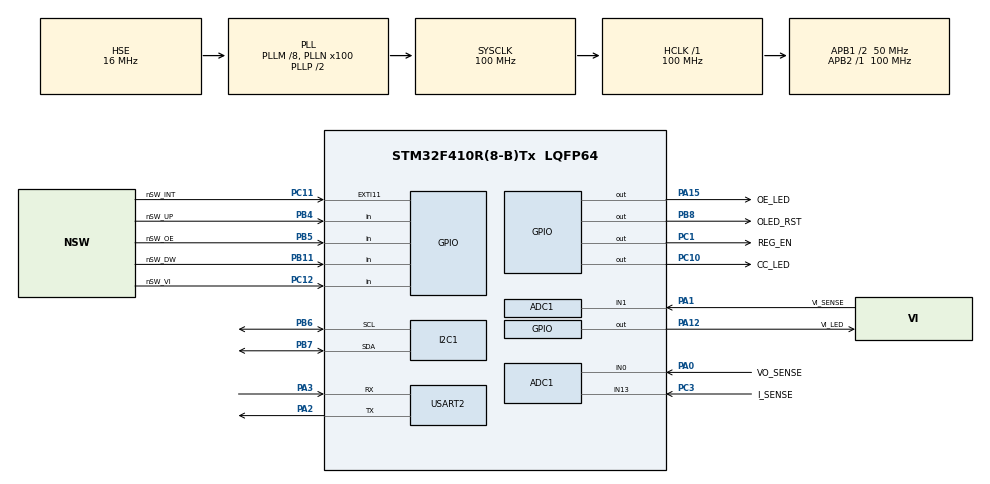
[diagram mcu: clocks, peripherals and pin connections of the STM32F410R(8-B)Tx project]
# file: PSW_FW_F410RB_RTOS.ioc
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Mcu.Family=STM32F4
VP_SYS_VS_tim6.Mode=TIM6
RCC.CortexFreq_Value=100000000
NVIC.TIM6_DAC_IRQn=true\:0\:0\:false\:false\:true\:false\:false\:true
PC12.Signal=GPIO_Input
PC10.Signal=GPIO_Output
PB11.Signal=GPIO_Input
RCC.SYSCLKSource=RCC_SYSCLKSOURCE_PLLCLK
ProjectManager.StackSize=0x400
VP_FREERTOS_VS_CMSIS_V2.Mode=CMSIS_V2
PA15.GPIO_Label=OE_LED
FREERTOS.configENABLE_FPU=1
PA12.Signal=GPIO_Output
PH0\ -\ OSC_IN.Signal=RCC_OSC_IN
RCC.HCLKFreq_Value=100000000
RCC.APB2TimFreq_Value=100000000
PB6.Signal=I2C1_SCL
PB6.Mode=I2C
PC3.Signal=SharedAnalog_PC3
PC1.PinState=GPIO_PIN_SET
RCC.AHBFreq_Value=100000000
NVIC.EXTI15_10_IRQn=true\:5\:0\:false\:false\:true\:true\:true\:true
ADC1.Channel-0\#ChannelRegularConversion=ADC_CHANNEL_13
RCC.HSE_VALUE=16000000
PB3.Mode=Trace_Asynchronous_SW
PA14.Mode=Trace_Asynchronous_SW
PC11.GPIO_Label=nSW_INT
PB8.PinState=GPIO_PIN_RESET
PB7.Signal=I2C1_SDA
ADC1.SamplingTime-0\#ChannelRegularConversion=ADC_SAMPLETIME_3CYCLES
Mcu.Package=LQFP64
NVIC.TimeBase=TIM6_DAC_IRQn
USART2.VirtualMode=VM_ASYNC
RCC.EnbaleCSS=true
NVIC.TimeBaseIP=TIM6
PA15.Signal=GPIO_Output
PB5.GPIO_Label=nSW_OE
RCC.APB1TimFreq_Value=100000000
PB4.Signal=GPIO_Input
PA3.Signal=USART2_RX
RCC.PLLSourceVirtual=RCC_PLLSOURCE_HSE
FREERTOS.Tasks01=uartTxTask,24,128,startUartTxTask,Default,NULL,Dynamic,NULL,NULL;uartRxTask,24,128,startUartRxTask,Default,NULL,Dynamic,NULL,NULL;oledTask,8,256,startOledTask,Default,NULL,Dynamic,NULL,NULL;initPsuTask,47,128,startInitPsuTask,Default,NULL,Dynamic,NULL,NULL;ledTask,8,128,startLedTask,Default,NULL,Dynamic,NULL,NULL
ADC1.Rank-0\#ChannelRegularConversion=1
PC10.GPIO_Label=CC_LED
SH.SharedAnalog_PC3.1=ADC1_IN13,IN13
SH.SharedAnalog_PC3.0=GPIO_Analog
SH.SharedAnalog_PA0.0=GPIO_Analog
SH.SharedAnalog_PA0.1=ADC1_IN0,IN0
PC11.Signal=GPXTI11
PH1\ -\ OSC_OUT.Mode=HSE-External-Oscillator
PB11.GPIO_Label=nSW_DW
TIM11.Prescaler=8400-1
RCC.APB1CLKDivider=RCC_HCLK_DIV2
PA12.GPIO_Label=VI_LED
PA0-WKUP.GPIO_Label=VO_SENSE
PA0-WKUP.Signal=SharedAnalog_PA0
VP_TIM11_VS_ClockSourceINT.Mode=Enable_Timer
PA13.Signal=SYS_JTMS-SWDIO
PA3.Mode=Asynchronous
PB8.GPIO_Label=OLED_RST
PH0\ -\ OSC_IN.Mode=HSE-External-Oscillator
ProjectManager.TargetToolchain=STM32CubeIDE
I2C1.I2C_Mode=I2C_Fast
RCC.LSE_VALUE=32768
PA1.Signal=SharedAnalog_PA1
PH1\ -\ OSC_OUT.Signal=RCC_OSC_OUT
board=custom
RCC.VCOOutputFreq_Value=200000000
RCC.APB2Freq_Value=100000000
PB4.GPIO_Label=nSW_UP
PC11.GPIO_ModeDefaultEXTI=GPIO_MODE_IT_FALLING
PA1.GPIO_Label=VI_SENSE
PC1.GPIO_Label=REG_EN
PA13.Mode=Trace_Asynchronous_SW
Mcu.Name=STM32F410R(8-B)Tx
PA2.Signal=USART2_TX
RCC.48MHZClocksFreq_Value=50000000
PB3.Signal=SYS_JTDO-SWO
RCC.SYSCLKFreq_VALUE=100000000
PB5.Signal=GPIO_Input
ADC1.master=1
PC12.GPIO_Label=nSW_VI
PB7.Mode=I2C
PA14.Signal=SYS_JTCK-SWCLK
ProjectManager.HeapSize=0x200
RCC.HSI_VALUE=16000000
SH.SharedAnalog_PA1.1=ADC1_IN1,IN1
NVIC.PriorityGroup=NVIC_PRIORITYGROUP_4
SH.SharedAnalog_PA1.0=GPIO_Analog
ADC1.NbrOfConversionFlag=1
RCC.PLLM=8
RCC.PLLN=100
PA2.Mode=Asynchronous
PB8.Signal=GPIO_Output
PC3.GPIO_Label=I_SENSE
RCC.APB1Freq_Value=50000000
PC1.Signal=GPIO_Output

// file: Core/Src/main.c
/* USER CODE BEGIN Header */
/**
 ******************************************************************************
 * @file           : main.c
 * @brief          : Main program body
 ******************************************************************************
 * @attention
 *
 * <h2><center>&copy; Copyright (c) 2021 STMicroelectronics.
 * All rights reserved.</center></h2>
 *
 * This software component is licensed by ST under BSD 3-Clause license,
 * the "License"; You may not use this file except in compliance with the
 * License. You may obtain a copy of the License at:
 *                        opensource.org/licenses/BSD-3-Clause
 *
 ******************************************************************************
 */
/* USER CODE END Header */
#include "main.h"
#include "cmsis_os.h"

/* USER CODE BEGIN Includes */
#include "display.h"
/* USER CODE END Includes */

ADC_HandleTypeDef hadc1;

I2C_HandleTypeDef hi2c1;

TIM_HandleTypeDef htim11;

UART_HandleTypeDef huart2;

/* Definitions for uartTxTask */
osThreadId_t uartTxTaskHandle;
const osThreadAttr_t uartTxTask_attributes = {
  .name = "uartTxTask",
  .stack_size = 128 * 4,
  .priority = (osPriority_t) osPriorityNormal,
};
/* Definitions for uartRxTask */
osThreadId_t uartRxTaskHandle;
const osThreadAttr_t uartRxTask_attributes = {
  .name = "uartRxTask",
  .stack_size = 128 * 4,
  .priority = (osPriority_t) osPriorityNormal,
};
/* Definitions for oledTask */
osThreadId_t oledTaskHandle;
const osThreadAttr_t oledTask_attributes = {
  .name = "oledTask",
  .stack_size = 256 * 4,
  .priority = (osPriority_t) osPriorityLow,
};
/* Definitions for initPsuTask */
osThreadId_t initPsuTaskHandle;
const osThreadAttr_t initPsuTask_attributes = {
  .name = "initPsuTask",
  .stack_size = 128 * 4,
  .priority = (osPriority_t) osPriorityHigh7,
};
/* Definitions for ledTask */
osThreadId_t ledTaskHandle;
const osThreadAttr_t ledTask_attributes = {
  .name = "ledTask",
  .stack_size = 128 * 4,
  .priority = (osPriority_t) osPriorityLow,
};
/* USER CODE BEGIN PV */
struct Stats psuStats;
/* USER CODE END PV */

void SystemClock_Config(void);
static void MX_GPIO_Init(void);
static void MX_ADC1_Init(void);
static void MX_I2C1_Init(void);
static void MX_TIM11_Init(void);
static void MX_USART2_UART_Init(void);
void startUartTxTask(void *argument);
void startUartRxTask(void *argument);
void startOledTask(void *argument);
void startInitPsuTask(void *argument);
void startLedTask(void *argument);

int main(void)
{

  /* MCU Configuration--------------------------------------------------------*/

  /* Reset of all peripherals, Initializes the Flash interface and the Systick. */
  HAL_Init();

  /* Configure the system clock */
  SystemClock_Config();

  /* Initialize all configured peripherals */
  MX_GPIO_Init();
  MX_ADC1_Init();
  MX_I2C1_Init();
  MX_TIM11_Init();
  MX_USART2_UART_Init();

  /* Init scheduler */
  osKernelInitialize();

  /* Create the thread(s) */
  /* creation of uartTxTask */
  uartTxTaskHandle = osThreadNew(startUartTxTask, NULL, &uartTxTask_attributes);

  /* creation of uartRxTask */
  uartRxTaskHandle = osThreadNew(startUartRxTask, NULL, &uartRxTask_attributes);

  /* creation of oledTask */
  oledTaskHandle = osThreadNew(startOledTask, NULL, &oledTask_attributes);

  /* creation of initPsuTask */
  initPsuTaskHandle = osThreadNew(startInitPsuTask, NULL, &initPsuTask_attributes);

  /* creation of ledTask */
  ledTaskHandle = osThreadNew(startLedTask, NULL, &ledTask_attributes);

  /* Start scheduler */
  osKernelStart();

  /* We should never get here as control is now taken by the scheduler */
  /* Infinite loop */
	while (1) {

	}
}

void SystemClock_Config(void)
{
  RCC_OscInitTypeDef RCC_OscInitStruct = {0};
  RCC_ClkInitTypeDef RCC_ClkInitStruct = {0};

  /** Configure the main internal regulator output voltage
  */
  __HAL_RCC_PWR_CLK_ENABLE();
  __HAL_PWR_VOLTAGESCALING_CONFIG(PWR_REGULATOR_VOLTAGE_SCALE1);
  /** Initializes the RCC Oscillators according to the specified parameters
  * in the RCC_OscInitTypeDef structure.
  */
  RCC_OscInitStruct.OscillatorType = RCC_OSCILLATORTYPE_HSE;
  RCC_OscInitStruct.HSEState = RCC_HSE_ON;
  RCC_OscInitStruct.PLL.PLLState = RCC_PLL_ON;
  RCC_OscInitStruct.PLL.PLLSource = RCC_PLLSOURCE_HSE;
  RCC_OscInitStruct.PLL.PLLM = 8;
  RCC_OscInitStruct.PLL.PLLN = 100;
  RCC_OscInitStruct.PLL.PLLP = RCC_PLLP_DIV2;
  RCC_OscInitStruct.PLL.PLLQ = 4;
  RCC_OscInitStruct.PLL.PLLR = 2;
  if (HAL_RCC_OscConfig(&RCC_OscInitStruct) != HAL_OK)
  {
    Error_Handler();
  }
  /** Initializes the CPU, AHB and APB buses clocks
  */
  RCC_ClkInitStruct.ClockType = RCC_CLOCKTYPE_HCLK|RCC_CLOCKTYPE_SYSCLK
                              |RCC_CLOCKTYPE_PCLK1|RCC_CLOCKTYPE_PCLK2;
  RCC_ClkInitStruct.SYSCLKSource = RCC_SYSCLKSOURCE_PLLCLK;
  RCC_ClkInitStruct.AHBCLKDivider = RCC_SYSCLK_DIV1;
  RCC_ClkInitStruct.APB1CLKDivider = RCC_HCLK_DIV2;
  RCC_ClkInitStruct.APB2CLKDivider = RCC_HCLK_DIV1;

  if (HAL_RCC_ClockConfig(&RCC_ClkInitStruct, FLASH_LATENCY_3) != HAL_OK)
  {
    Error_Handler();
  }
  /** Enables the Clock Security System
  */
  HAL_RCC_EnableCSS();
}

static void MX_ADC1_Init(void)
{

  ADC_ChannelConfTypeDef sConfig = {0};

  /** Configure the global features of the ADC (Clock, Resolution, Data Alignment and number of conversion)
  */
  hadc1.Instance = ADC1;
  hadc1.Init.ClockPrescaler = ADC_CLOCK_SYNC_PCLK_DIV4;
  hadc1.Init.Resolution = ADC_RESOLUTION_12B;
  hadc1.Init.ScanConvMode = DISABLE;
  hadc1.Init.ContinuousConvMode = DISABLE;
  hadc1.Init.DiscontinuousConvMode = DISABLE;
  hadc1.Init.ExternalTrigConvEdge = ADC_EXTERNALTRIGCONVEDGE_NONE;
  hadc1.Init.ExternalTrigConv = ADC_SOFTWARE_START;
  hadc1.Init.DataAlign = ADC_DATAALIGN_RIGHT;
  hadc1.Init.NbrOfConversion = 1;
  hadc1.Init.DMAContinuousRequests = DISABLE;
  hadc1.Init.EOCSelection = ADC_EOC_SINGLE_CONV;
  if (HAL_ADC_Init(&hadc1) != HAL_OK)
  {
    Error_Handler();
  }
  /** Configure for the selected ADC regular channel its corresponding rank in the sequencer and its sample time.
  */
  sConfig.Channel = ADC_CHANNEL_13;
  sConfig.Rank = 1;
  sConfig.SamplingTime = ADC_SAMPLETIME_3CYCLES;
  if (HAL_ADC_ConfigChannel(&hadc1, &sConfig) != HAL_OK)
  {
    Error_Handler();
  }

}

static void MX_I2C1_Init(void)
{

  hi2c1.Instance = I2C1;
  hi2c1.Init.ClockSpeed = 400000;
  hi2c1.Init.DutyCycle = I2C_DUTYCYCLE_2;
  hi2c1.Init.OwnAddress1 = 0;
  hi2c1.Init.AddressingMode = I2C_ADDRESSINGMODE_7BIT;
  hi2c1.Init.DualAddressMode = I2C_DUALADDRESS_DISABLE;
  hi2c1.Init.OwnAddress2 = 0;
  hi2c1.Init.GeneralCallMode = I2C_GENERALCALL_DISABLE;
  hi2c1.Init.NoStretchMode = I2C_NOSTRETCH_DISABLE;
  if (HAL_I2C_Init(&hi2c1) != HAL_OK)
  {
    Error_Handler();
  }

}

static void MX_TIM11_Init(void)
{

  htim11.Instance = TIM11;
  htim11.Init.Prescaler = 8400-1;
  htim11.Init.CounterMode = TIM_COUNTERMODE_UP;
  htim11.Init.Period = 65535;
  htim11.Init.ClockDivision = TIM_CLOCKDIVISION_DIV1;
  htim11.Init.AutoReloadPreload = TIM_AUTORELOAD_PRELOAD_DISABLE;
  if (HAL_TIM_Base_Init(&htim11) != HAL_OK)
  {
    Error_Handler();
  }

}

static void MX_USART2_UART_Init(void)
{

  huart2.Instance = USART2;
  huart2.Init.BaudRate = 115200;
  huart2.Init.WordLength = UART_WORDLENGTH_8B;
  huart2.Init.StopBits = UART_STOPBITS_1;
  huart2.Init.Parity = UART_PARITY_NONE;
  huart2.Init.Mode = UART_MODE_TX_RX;
  huart2.Init.HwFlowCtl = UART_HWCONTROL_NONE;
  huart2.Init.OverSampling = UART_OVERSAMPLING_16;
  if (HAL_UART_Init(&huart2) != HAL_OK)
  {
    Error_Handler();
  }

}

static void MX_GPIO_Init(void)
{
  GPIO_InitTypeDef GPIO_InitStruct = {0};

  /* GPIO Ports Clock Enable */
  __HAL_RCC_GPIOH_CLK_ENABLE();
  __HAL_RCC_GPIOC_CLK_ENABLE();
  __HAL_RCC_GPIOA_CLK_ENABLE();
  __HAL_RCC_GPIOB_CLK_ENABLE();

  /*Configure GPIO pin Output Level */
  HAL_GPIO_WritePin(REG_EN_GPIO_Port, REG_EN_Pin, GPIO_PIN_SET);

  /*Configure GPIO pin Output Level */
  HAL_GPIO_WritePin(GPIOA, VI_LED_Pin|OE_LED_Pin, GPIO_PIN_RESET);

  /*Configure GPIO pin Output Level */
  HAL_GPIO_WritePin(CC_LED_GPIO_Port, CC_LED_Pin, GPIO_PIN_RESET);

  /*Configure GPIO pin Output Level */
  HAL_GPIO_WritePin(OLED_RST_GPIO_Port, OLED_RST_Pin, GPIO_PIN_RESET);

  /*Configure GPIO pins : REG_EN_Pin CC_LED_Pin */
  GPIO_InitStruct.Pin = REG_EN_Pin|CC_LED_Pin;
  GPIO_InitStruct.Mode = GPIO_MODE_OUTPUT_PP;
  GPIO_InitStruct.Pull = GPIO_NOPULL;
  GPIO_InitStruct.Speed = GPIO_SPEED_FREQ_LOW;
  HAL_GPIO_Init(GPIOC, &GPIO_InitStruct);

  /*Configure GPIO pins : VI_LED_Pin OE_LED_Pin */
  GPIO_InitStruct.Pin = VI_LED_Pin|OE_LED_Pin;
  GPIO_InitStruct.Mode = GPIO_MODE_OUTPUT_PP;
  GPIO_InitStruct.Pull = GPIO_NOPULL;
  GPIO_InitStruct.Speed = GPIO_SPEED_FREQ_LOW;
  HAL_GPIO_Init(GPIOA, &GPIO_InitStruct);

  /*Configure GPIO pin : nSW_INT_Pin */
  GPIO_InitStruct.Pin = nSW_INT_Pin;
  GPIO_InitStruct.Mode = GPIO_MODE_IT_FALLING;
  GPIO_InitStruct.Pull = GPIO_NOPULL;
  HAL_GPIO_Init(nSW_INT_GPIO_Port, &GPIO_InitStruct);

  /*Configure GPIO pin : nSW_VI_Pin */
  GPIO_InitStruct.Pin = nSW_VI_Pin;
  GPIO_InitStruct.Mode = GPIO_MODE_INPUT;
  GPIO_InitStruct.Pull = GPIO_NOPULL;
  HAL_GPIO_Init(nSW_VI_GPIO_Port, &GPIO_InitStruct);

  /*Configure GPIO pins : nSW_DW_Pin nSW_UP_Pin nSW_OE_Pin */
  GPIO_InitStruct.Pin = nSW_DW_Pin|nSW_UP_Pin|nSW_OE_Pin;
  GPIO_InitStruct.Mode = GPIO_MODE_INPUT;
  GPIO_InitStruct.Pull = GPIO_NOPULL;
  HAL_GPIO_Init(GPIOB, &GPIO_InitStruct);

  /*Configure GPIO pin : OLED_RST_Pin */
  GPIO_InitStruct.Pin = OLED_RST_Pin;
  GPIO_InitStruct.Mode = GPIO_MODE_OUTPUT_PP;
  GPIO_InitStruct.Pull = GPIO_NOPULL;
  GPIO_InitStruct.Speed = GPIO_SPEED_FREQ_LOW;
  HAL_GPIO_Init(OLED_RST_GPIO_Port, &GPIO_InitStruct);

  /* EXTI interrupt init*/
  HAL_NVIC_SetPriority(EXTI15_10_IRQn, 5, 0);
  HAL_NVIC_EnableIRQ(EXTI15_10_IRQn);

}

void startUartTxTask(void *argument)
{
  /* USER CODE BEGIN 5 */
	/* Infinite loop */
	for (;;) {
		HAL_GPIO_TogglePin(CC_LED_GPIO_Port, CC_LED_Pin);
		osDelay(100);
	}
	osThreadTerminate(osThreadGetId());
  /* USER CODE END 5 */
}

void startUartRxTask(void *argument)
{
  /* USER CODE BEGIN startUartRxTask */
	/* Infinite loop */
	for (;;) {
		HAL_GPIO_TogglePin(VI_LED_GPIO_Port, VI_LED_Pin);
		osDelay(150);
	}
	osThreadTerminate(osThreadGetId());
  /* USER CODE END startUartRxTask */
}

void startOledTask(void *argument)
{
  /* USER CODE BEGIN startOledTask */
	double Vin = 0;
	double Vout = 0;
	double Iout = 0;
	displayInit();

	/* Infinite loop */
	for (;;) {
		displayVoltageCurrent(psuStats, Vin, Vout, Iout);
		osDelay(500);
		Vin++;
	}
	osThreadTerminate(osThreadGetId());
  /* USER CODE END startOledTask */
}

void startInitPsuTask(void *argument)
{
  /* USER CODE BEGIN startInitPsuTask */
	psuStats.vSet = V_DEFAULT;
	psuStats.iSet = I_DEFAULT;
	psuStats.iLim = I_LIM_DEFAULT;
	psuStats.VI = VI_DEFAULT;
	psuStats.OE = OE_DEFAULT;

	osThreadTerminate(osThreadGetId());	// do not need the task after init
	/* Infinite loop */
	for (;;) {
		osDelay(1);
	}
  /* USER CODE END startInitPsuTask */
}

void startLedTask(void *argument)
{
	for (;;) {
		osDelay(1);
	}
}

 /**
  * @brief  Period elapsed callback in non blocking mode
  * @note   This function is called  when TIM6 interrupt took place, inside
  * HAL_TIM_IRQHandler(). It makes a direct call to HAL_IncTick() to increment
  * a global variable "uwTick" used as application time base.
  * @param  htim : TIM handle
  * @retval None
  */
void HAL_TIM_PeriodElapsedCallback(TIM_HandleTypeDef *htim)
{
  if (htim->Instance == TIM6) {
    HAL_IncTick();
  }
}

void Error_Handler(void)
{
	__disable_irq();
	while (1) {
	}
}

/************************ (C) COPYRIGHT STMicroelectronics *****END OF FILE****/
